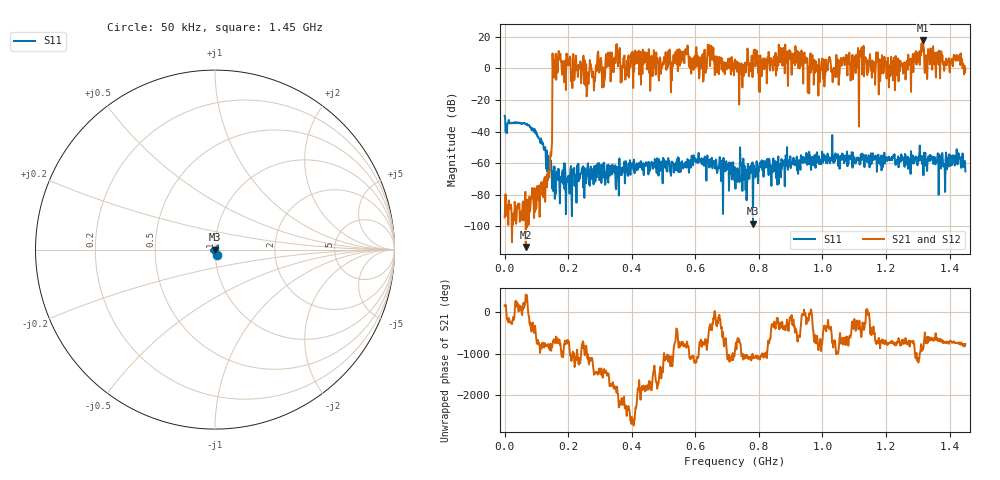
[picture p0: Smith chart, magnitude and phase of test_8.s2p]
! Created with skrf 1.11.0 (http://scikit-rf.org).
# Hz S RI R 50.0
!freq ReS11 ImS11 ReS21 ImS21 ReS12 ImS12 ReS22 ImS22
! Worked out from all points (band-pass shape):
!   1001 points, 50 kHz to 1.45 GHz, reference 50 ohm
!   highest |S21| = 17.54 dB at 1.317 GHz (marker M1); lowest = -113.0 dB at 66.75 MHz (marker M2)
!   |S21| within 3 dB of the highest: 350.8575 MHz to 351.0254 MHz (167.9 kHz wide, 0.0478 % of centre); 353.6892 MHz to 353.9241 MHz (235 kHz wide, 0.0664 % of centre) (the widest 2 of 8)
!   lowest |S11| = -98.3 dB at 781.6 MHz (marker M3), VSWR 1.00, Z = 50 + j0.001 ohm
!   |S11| at or under -10 dB: start of sweep to end of sweep
!   |S22| runs from - to - dB; largest |S21 - S12| = 0
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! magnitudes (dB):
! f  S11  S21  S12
! 50 kHz  -30.1  -94.3  -94.3
! 66.75 MHz  -35.1  -113.0  -113.0
! 134.9 MHz  -65.4  -66.6  -66.6
! 142.1 MHz  -64.1  -64.2  -64.2
! 158.1 MHz  -82.5  5.1  5.1
! 242.2 MHz  -65.3  -5.1  -5.1
! 258.1 MHz  -68.5  -17.8  -17.8
! 355.3 MHz  -62.7  3.7  3.7
! 372.7 MHz  -62.7  2.7  2.7
! 484.3 MHz  -67.9  -4.8  -4.8
! 571.3 MHz  -61.8  8.7  8.7
! 619.2 MHz  -58.8  5.2  5.2
! 645.3 MHz  -58.4  8.4  8.4
! 725 MHz  -62.6  5.6  5.6
! 781.6 MHz  -98.3  5.3  5.3
! 804.8 MHz  -61.7  8.1  8.1
! 967.2 MHz  -61.1  1.5  1.5
! 1.035 GHz  -59.9  0.2  0.2
! 1.124 GHz  -58.1  13.3  13.3
! 1.209 GHz  -56.0  -12.1  -12.1
! 1.317 GHz  -56.9  17.5  17.5
! 1.45 GHz  -65.2  -0.8  -0.8
